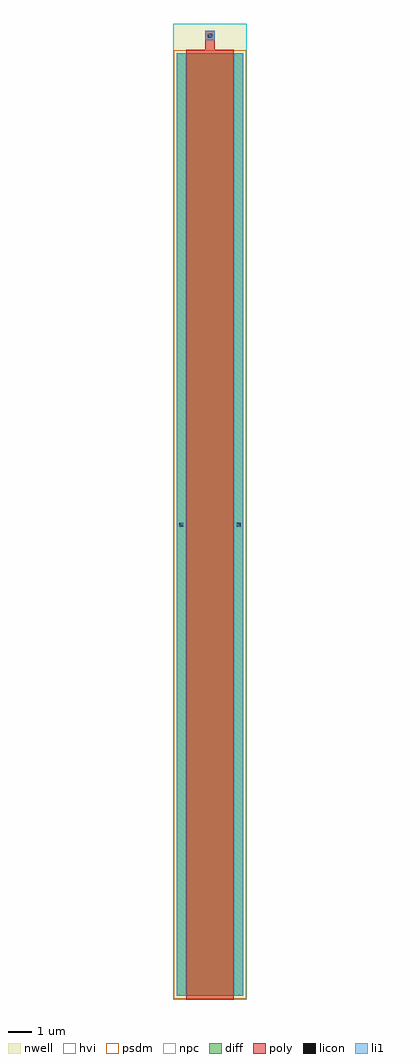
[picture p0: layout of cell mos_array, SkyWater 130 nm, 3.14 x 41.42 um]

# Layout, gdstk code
import gdstk
lib = gdstk.Library(unit=1e-6, precision=1e-09)
def R(c, l, rs):  # rectangles x0, y0, x1, y1
    for r in rs: c.add(gdstk.rectangle(r[:2], r[2:], *l))
nwell = (64, 20)
diff = (65, 20)
poly = (66, 20)
licon = (66, 44)
li1 = (67, 20)
hvi = (75, 20)
psdm = (94, 20)
npc = (95, 20)

mos_array = lib.new_cell('mos_array')
R(mos_array, nwell, [(-0.15,-0.15,2.99,41.27)])
R(mos_array, diff, [(0,0,2.84,40)])
R(mos_array, poly, [(0.42,-0.15,2.42,40), (0.42,40,2.42,40.15), (0.42,40,2.42,40.15), (1.21,40.15,1.63,40.97)])
R(mos_array, licon, [(0.125,19.915,0.295,20.085), (2.545,19.915,2.715,20.085), (1.335,40.675,1.505,40.845)])
R(mos_array, li1, [(0,0,0.42,40), (2.42,0,2.84,40), (1.21,40.55,1.63,40.97)])
R(mos_array, hvi, [(-0.15,-0.15,2.99,41.27)])
R(mos_array, psdm, [(-0.125,-0.125,2.965,40.125)])
R(mos_array, npc, [(1.24,40.58,1.6,40.94)])

lib.write_gds('mos_array.gds')
